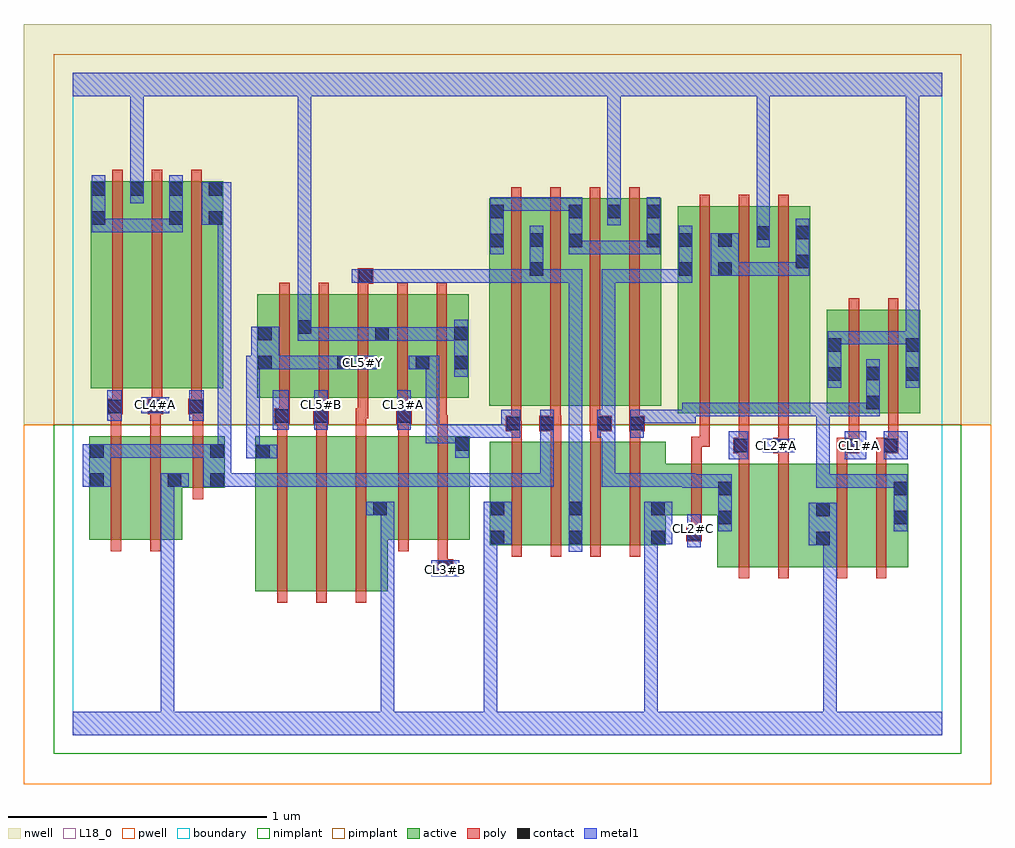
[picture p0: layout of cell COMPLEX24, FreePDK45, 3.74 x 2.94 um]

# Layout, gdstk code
import gdstk
lib = gdstk.Library(unit=1e-6, precision=1e-09)
def R(c, l, rs):  # rectangles x0, y0, x1, y1
    for r in rs: c.add(gdstk.rectangle(r[:2], r[2:], *l))
def A(c, l, x, y, w, h, nx, ny, dx, dy):  # array of equal rectangles
    R(c, l, [(x+i*dx, y+j*dy, x+i*dx+w, y+j*dy+h) for i in range(nx) for j in range(ny)])
active = (1, 0)
pwell = (2, 0)
nwell = (3, 0)
nimplant = (4, 0)
pimplant = (5, 0)
poly = (9, 0)
contact = (10, 0)
metal1 = (11, 0)
L18_0 = (18, 0)
boundary = (235, 0)

complex24 = lib.new_cell('COMPLEX24')
R(complex24, active, [(0.706,0.556,0.886,1.156), (0.706,0.556,0.766,1.156), (0.886,0.556,1.038,1.156), (1.038,0.556,1.218,1.156), (2.49,0.65,2.67,1.05), (2.67,0.65,2.928,1.05), (2.868,0.65,3.048,1.05), (2.868,0.65,2.928,0.902), (3.048,0.65,3.228,1.05), (1.612,0.734,1.792,1.134), (1.612,0.734,1.672,0.948), (1.792,0.734,1.972,1.134), (1.912,0.734,2.096,1.134), (1.912,0.734,1.972,1.134), (2.096,0.734,2.292,1.134), (2.232,0.734,2.292,1.028), (0.064,0.756,0.244,1.156), (0.064,0.756,0.124,1.156), (0.244,0.756,0.424,1.156), (0.364,0.756,0.424,1.156), (1.158,0.756,1.354,1.156), (1.158,0.756,1.218,0.906), (1.354,0.756,1.534,1.156), (1.474,0.756,1.534,1.156), (3.168,0.756,3.228,1.05), (2.49,0.812,2.55,1.012), (2.232,0.85,2.55,1.05), (0.364,0.956,0.588,1.156), (0.528,0.956,0.588,1.156), (2.338,1.244,2.398,2.044), (2.338,1.244,2.55,2.044), (2.49,1.244,2.55,2.044), (2.49,1.244,2.698,2.044), (2.638,1.244,2.698,2.044), (2.638,1.244,2.85,2.044), (2.79,1.244,2.85,2.044), (2.914,1.244,2.974,1.644), (2.914,1.244,3.122,1.644), (3.062,1.244,3.274,1.644), (3.214,1.244,3.274,1.644), (3.062,1.256,3.122,1.644), (1.61,1.274,1.822,2.074), (1.762,1.274,1.972,2.074), (1.762,1.274,1.822,2.044), (1.912,1.274,2.122,2.074), (2.062,1.274,2.274,2.074), (2.214,1.274,2.274,2.074), (0.714,1.304,0.774,1.704), (0.714,1.304,0.926,1.704), (0.866,1.304,1.078,1.704), (1.018,1.304,1.226,1.704), (1.166,1.304,1.382,1.704), (1.322,1.304,1.53,1.704), (1.47,1.304,1.53,1.644), (0.07,1.34,0.13,2.14), (0.07,1.34,0.278,2.14), (0.218,1.34,0.43,2.14), (0.37,1.34,0.582,2.14), (0.522,1.34,0.582,2.14), (1.018,1.41,1.078,1.644), (1.322,1.41,1.382,1.644), (1.61,1.452,1.67,2.074), (1.166,1.52,1.226,1.644), (0.866,1.548,0.926,1.644), (0.218,1.686,0.278,2.14), (0.37,1.686,0.43,2.14), (1.912,1.686,1.972,2.074), (2.062,1.686,2.122,2.074)])
R(complex24, pwell, [(-0.188,-0.188,3.548,1.2)])
R(complex24, nwell, [(-0.188,1.2,3.548,2.748)])
R(complex24, nimplant, [(-0.072,-0.072,3.432,1.2)])
R(complex24, pimplant, [(-0.072,1.2,3.432,2.632)])
A(complex24, poly, 0.79, 0.512, 0.04, 0.688, 3, 1, 0.152, 0)
A(complex24, poly, 1.696, 0.69, 0.04, 0.488, 4, 1, 0.152, 0)
A(complex24, poly, 1.696, 1.138, 0.04, 0.076, 4, 1, 0.152, 0)
A(complex24, poly, 1.694, 1.194, 0.04, 0.076, 4, 1, 0.152, 0)
A(complex24, poly, 2.422, 1.2, 0.04, 0.888, 3, 1, 0.152, 0)
A(complex24, poly, 0.798, 1.224, 0.04, 0.076, 4, 1, 0.152, 0)
A(complex24, poly, 1.694, 1.23, 0.04, 0.888, 4, 1, 0.152, 0)
A(complex24, poly, 0.134, 1.24, 0.06, 0.06, 3, 1, 0.156, 0)
A(complex24, poly, 0.154, 1.26, 0.04, 0.076, 3, 1, 0.152, 0)
A(complex24, poly, 0.798, 1.26, 0.04, 0.488, 5, 1, 0.152, 0)
A(complex24, poly, 0.154, 1.296, 0.04, 0.888, 3, 1, 0.152, 0)
R(complex24, poly, [(2.574,0.606,2.614,1.094), (2.726,0.606,2.766,1.094), (2.952,0.606,2.992,1.094), (3.104,0.606,3.144,1.094), (1.41,0.62,1.47,0.68), (1.41,0.64,1.45,0.752), (0.148,0.712,0.188,1.2), (0.3,0.712,0.34,1.2), (1.258,0.712,1.298,1.2), (1.41,0.712,1.45,1.2), (2.37,0.75,2.43,0.81), (2.39,0.77,2.43,0.846), (2.39,0.806,2.43,1.094), (0.464,0.912,0.504,1.2), (2.39,1.054,2.43,1.154), (2.574,1.054,2.614,1.13), (2.726,1.054,2.766,1.13), (2.952,1.054,2.992,1.13), (3.104,1.054,3.144,1.13), (2.552,1.09,2.614,1.15), (2.706,1.09,2.766,1.15), (2.952,1.09,3.038,1.15), (3.104,1.09,3.19,1.15), (2.574,1.11,2.614,1.24), (2.574,1.11,2.614,1.15), (2.574,1.11,2.614,1.15), (2.726,1.11,2.766,1.24), (2.726,1.11,2.766,1.15), (2.726,1.11,2.766,1.15), (2.998,1.11,3.038,1.24), (2.998,1.11,3.038,1.15), (2.998,1.11,3.038,1.15), (3.15,1.11,3.19,1.24), (3.15,1.11,3.19,1.15), (3.15,1.11,3.19,1.15), (2.39,1.114,2.43,1.154), (2.39,1.114,2.43,1.154), (2.39,1.114,2.462,1.154), (2.422,1.114,2.462,1.24), (0.148,1.16,0.188,1.28), (0.3,1.16,0.34,1.28), (0.464,1.16,0.504,1.28), (0.79,1.16,0.83,1.244), (0.942,1.16,0.982,1.244), (1.094,1.16,1.134,1.264), (1.258,1.16,1.298,1.244), (1.41,1.16,1.45,1.236), (1.674,1.174,1.734,1.234), (1.694,1.174,1.734,1.214), (1.694,1.174,1.736,1.214), (1.802,1.174,1.888,1.234), (1.998,1.174,2.082,1.234), (2,1.174,2.04,1.214), (2,1.174,2.04,1.214), (2.15,1.174,2.21,1.234), (2.152,1.174,2.192,1.214), (2.152,1.174,2.192,1.214), (1.846,1.194,1.886,1.234), (1.846,1.194,1.886,1.234), (1.406,1.196,1.446,1.3), (1.406,1.196,1.45,1.236), (1.41,1.196,1.45,1.236), (1.41,1.196,1.45,1.236), (2.998,1.2,3.038,1.688), (3.15,1.2,3.19,1.688), (0.778,1.204,0.838,1.264), (0.79,1.204,0.83,1.244), (0.79,1.204,0.83,1.244), (0.93,1.204,0.99,1.264), (0.942,1.204,0.982,1.244), (0.942,1.204,0.982,1.244), (1.25,1.204,1.31,1.264), (1.258,1.204,1.298,1.244), (1.258,1.204,1.298,1.244), (1.094,1.224,1.142,1.264), (1.102,1.224,1.142,1.264), (1.102,1.224,1.142,1.264), (0.148,1.24,0.188,1.28), (0.148,1.24,0.188,1.28), (0.3,1.24,0.34,1.28), (0.3,1.24,0.34,1.28), (0.464,1.24,0.504,1.28), (0.464,1.24,0.504,1.28), (1.102,1.708,1.142,1.784), (1.102,1.744,1.162,1.804)])
A(complex24, contact, 0.138, 1.244, 0.052, 0.052, 3, 1, 0.156, 0)
A(complex24, contact, 0.718, 1.414, 0.052, 0.052, 3, 1, 0.304, 0)
A(complex24, contact, 1.614, 1.886, 0.052, 0.052, 3, 1, 0.302, 0)
A(complex24, contact, 0.222, 2.084, 0.052, 0.052, 3, 1, 0.152, 0)
R(complex24, contact, [(1.414,0.624,1.466,0.676), (2.872,0.734,2.924,0.786), (1.616,0.738,1.668,0.79), (1.916,0.738,1.968,0.79), (2.236,0.738,2.288,0.79), (2.374,0.754,2.426,0.806), (2.494,0.816,2.546,0.868), (3.172,0.816,3.224,0.868), (2.872,0.846,2.924,0.898), (1.162,0.85,1.214,0.902), (1.616,0.85,1.668,0.902), (1.916,0.85,1.968,0.902), (2.236,0.85,2.288,0.902), (2.494,0.928,2.546,0.98), (3.172,0.928,3.224,0.98), (0.068,0.96,0.12,1.012), (0.368,0.96,0.42,1.012), (0.532,0.96,0.584,1.012), (0.71,1.07,0.762,1.122), (0.068,1.072,0.12,1.124), (0.532,1.072,0.584,1.124), (2.556,1.094,2.608,1.146), (2.71,1.094,2.762,1.146), (2.982,1.094,3.034,1.146), (3.134,1.094,3.186,1.146), (1.478,1.1,1.53,1.152), (1.678,1.178,1.73,1.23), (1.806,1.178,1.858,1.23), (2.026,1.178,2.078,1.23), (2.154,1.178,2.206,1.23), (0.782,1.208,0.834,1.26), (0.934,1.208,0.986,1.26), (1.254,1.208,1.306,1.26), (3.066,1.26,3.118,1.312), (2.918,1.37,2.97,1.422), (3.218,1.37,3.27,1.422), (3.066,1.372,3.118,1.424), (1.474,1.414,1.526,1.466), (2.918,1.482,2.97,1.534), (3.218,1.482,3.27,1.534), (1.17,1.524,1.222,1.576), (0.718,1.526,0.77,1.578), (1.474,1.526,1.526,1.578), (0.87,1.552,0.922,1.604), (1.106,1.748,1.158,1.8), (1.766,1.776,1.818,1.828), (2.342,1.776,2.394,1.828), (2.494,1.776,2.546,1.828), (2.794,1.804,2.846,1.856), (1.766,1.888,1.818,1.94), (2.342,1.888,2.394,1.94), (2.494,1.888,2.546,1.94), (2.642,1.914,2.694,1.966), (2.794,1.916,2.846,1.968), (0.074,1.972,0.126,2.024), (0.374,1.972,0.426,2.024), (0.526,1.972,0.578,2.024), (1.614,1.998,1.666,2.05), (1.916,1.998,1.968,2.05), (2.066,1.998,2.118,2.05), (2.218,1.998,2.27,2.05), (0.074,2.084,0.126,2.136)])
A(complex24, metal1, 1.254, 1.524, 0.052, 0.052, 3, 1, 0.11, 0)
A(complex24, metal1, 1.614, 1.858, 0.052, 0.22, 3, 1, 0.302, 0)
R(complex24, metal1, [(0,0,3.36,0.092), (0.34,0.04,0.392,0.092), (0.34,0.04,0.392,0.092), (0.34,0.04,0.392,0.092), (0.34,0.04,0.392,0.092), (0.34,0.04,0.392,0.092), (0.34,0.04,0.392,0.092), (0.34,0.04,0.392,0.092), (0.34,0.04,0.392,0.092), (0.34,0.04,0.392,0.092), (0.34,0.04,0.392,0.092), (0.34,0.04,0.392,1.012), (1.19,0.04,1.242,0.092), (1.19,0.04,1.242,0.092), (1.19,0.04,1.242,0.092), (1.19,0.04,1.242,0.092), (1.19,0.04,1.242,0.092), (1.19,0.04,1.242,0.092), (1.19,0.04,1.242,0.092), (1.19,0.04,1.242,0.092), (1.19,0.04,1.242,0.902), (1.588,0.04,1.64,0.092), (1.588,0.04,1.64,0.092), (1.588,0.04,1.64,0.092), (1.588,0.04,1.64,0.092), (1.588,0.04,1.64,0.092), (1.588,0.04,1.64,0.092), (1.588,0.04,1.64,0.79), (2.208,0.04,2.26,0.79), (2.9,0.04,2.952,0.092), (2.9,0.04,2.952,0.092), (2.9,0.04,2.952,0.092), (2.9,0.04,2.952,0.092), (2.9,0.04,2.952,0.786), (1.386,0.614,1.494,0.676), (1.916,0.71,1.968,0.93), (2.374,0.726,2.426,0.854), (2.844,0.734,2.952,0.898), (2.9,0.734,2.952,0.786), (2.9,0.734,2.952,0.786), (2.9,0.734,2.952,0.786), (2.9,0.734,2.952,0.786), (2.9,0.734,2.952,0.786), (2.9,0.734,2.952,0.786), (2.9,0.734,2.952,0.786), (2.9,0.734,2.952,0.786), (1.588,0.738,1.64,0.79), (1.588,0.738,1.64,0.79), (1.588,0.738,1.64,0.79), (1.588,0.738,1.64,0.79), (1.588,0.738,1.64,0.79), (1.588,0.738,1.64,0.79), (1.588,0.738,1.696,0.902), (2.208,0.738,2.26,0.79), (2.208,0.738,2.26,0.79), (2.208,0.738,2.26,0.79), (2.208,0.738,2.26,0.79), (2.208,0.738,2.26,0.79), (2.208,0.738,2.26,0.79), (2.208,0.738,2.26,0.79), (2.208,0.738,2.26,0.79), (2.208,0.738,2.26,0.79), (2.208,0.738,2.26,0.79), (2.208,0.738,2.26,0.79), (2.208,0.738,2.26,0.79), (2.208,0.738,2.316,0.902), (2.494,0.788,2.546,1.008), (3.172,0.788,3.224,1.008), (1.134,0.85,1.242,0.902), (1.916,0.878,1.968,0.93), (1.916,0.878,1.968,0.93), (1.916,0.878,1.968,1.8), (2.356,0.956,2.546,1.008), (2.356,0.956,2.408,1.012), (2.872,0.956,2.924,1.008), (2.872,0.956,2.924,1.008), (2.872,0.956,2.924,1.008), (2.872,0.956,2.956,1.008), (2.872,0.956,2.924,1.284), (2.904,0.956,2.956,1.008), (2.904,0.956,3.114,1.008), (3.062,0.956,3.114,1.008), (3.062,0.956,3.224,1.008), (3.172,0.956,3.224,1.008), (3.172,0.956,3.224,1.008), (0.04,0.96,0.148,1.124), (0.34,0.96,0.392,1.012), (0.34,0.96,0.392,1.012), (0.34,0.96,0.448,1.012), (0.504,0.96,0.612,1.124), (0.56,0.96,0.612,1.012), (0.56,0.96,0.612,1.012), (0.56,0.96,0.812,1.012), (0.76,0.96,0.812,1.012), (0.76,0.96,0.812,1.012), (0.76,0.96,0.812,1.012), (0.76,0.96,0.922,1.012), (0.87,0.96,0.922,1.012), (0.87,0.96,0.922,1.012), (0.87,0.96,0.922,1.012), (0.87,0.96,1.042,1.012), (0.99,0.96,1.042,1.012), (0.99,0.96,1.152,1.012), (1.1,0.96,1.152,1.012), (1.1,0.96,1.152,1.012), (1.1,0.96,1.152,1.012), (1.1,0.96,1.306,1.012), (1.254,0.96,1.306,1.012), (1.254,0.96,1.416,1.012), (1.364,0.96,1.416,1.012), (1.364,0.96,1.53,1.012), (1.478,0.96,1.53,1.012), (1.478,0.96,1.53,1.012), (1.478,0.96,1.53,1.012), (1.478,0.96,1.64,1.012), (1.588,0.96,1.64,1.012), (1.588,0.96,1.64,1.012), (1.588,0.96,1.64,1.012), (1.588,0.96,1.858,1.012), (1.806,0.96,1.858,1.012), (1.806,0.96,1.858,1.012), (1.806,0.96,1.858,1.012), (1.806,0.96,1.858,1.202), (2.044,0.96,2.096,1.012), (2.044,0.96,2.096,1.012), (2.044,0.96,2.096,1.012), (2.044,0.96,2.206,1.012), (2.044,0.96,2.096,1.202), (2.154,0.96,2.206,1.012), (2.154,0.96,2.206,1.012), (2.154,0.96,2.206,1.012), (2.154,0.96,2.408,1.012), (2.356,0.96,2.408,1.012), (2.356,0.96,2.408,1.012), (2.534,1.066,2.608,1.174), (2.982,1.066,3.066,1.174), (3.134,1.066,3.226,1.174), (0.67,1.07,0.722,1.122), (0.67,1.07,0.722,1.122), (0.67,1.07,0.722,1.466), (0.67,1.07,0.734,1.122), (0.682,1.07,0.734,1.122), (0.682,1.07,0.79,1.122), (0.096,1.072,0.148,1.124), (0.096,1.072,0.148,1.124), (0.096,1.072,0.258,1.124), (0.206,1.072,0.258,1.124), (0.206,1.072,0.258,1.124), (0.206,1.072,0.258,1.124), (0.206,1.072,0.44,1.124), (0.388,1.072,0.44,1.124), (0.388,1.072,0.44,1.124), (0.388,1.072,0.44,1.124), (0.388,1.072,0.556,1.124), (0.56,1.072,0.612,1.124), (0.56,1.072,0.612,1.124), (0.56,1.072,0.612,1.124), (0.56,1.072,0.612,1.124), (0.56,1.072,0.612,2.024), (1.478,1.072,1.53,1.18), (2.666,1.094,2.79,1.146), (1.364,1.128,1.416,1.18), (1.364,1.128,1.416,1.18), (1.364,1.128,1.53,1.18), (1.364,1.128,1.416,1.202), (1.478,1.128,1.53,1.18), (1.478,1.128,1.53,1.18), (1.364,1.15,1.416,1.202), (1.364,1.15,1.416,1.202), (1.364,1.15,1.53,1.202), (1.364,1.15,1.416,1.466), (1.478,1.15,1.53,1.202), (1.478,1.15,1.53,1.202), (1.478,1.15,1.53,1.202), (1.478,1.15,1.708,1.202), (1.656,1.15,1.708,1.202), (1.656,1.15,1.708,1.202), (1.656,1.15,1.73,1.258), (1.806,1.15,1.858,1.202), (1.806,1.15,1.858,1.202), (1.806,1.15,1.858,1.258), (2.026,1.15,2.078,1.258), (2.026,1.15,2.096,1.202), (2.044,1.15,2.096,1.202), (2.044,1.15,2.096,1.8), (2.154,1.15,2.206,1.258), (0.774,1.18,0.834,1.334), (0.934,1.18,0.986,1.334), (1.254,1.18,1.306,1.334), (2.154,1.206,2.206,1.258), (2.154,1.206,2.206,1.258), (2.154,1.206,2.408,1.258), (2.356,1.206,2.408,1.284), (0.134,1.216,0.19,1.334), (0.45,1.216,0.506,1.334), (2.356,1.232,2.408,1.284), (2.356,1.232,2.408,1.284), (2.356,1.232,2.518,1.284), (2.466,1.232,2.518,1.284), (2.466,1.232,2.518,1.284), (2.466,1.232,2.518,1.284), (2.466,1.232,2.684,1.284), (2.632,1.232,2.684,1.284), (2.632,1.232,2.684,1.284), (2.632,1.232,2.684,1.284), (2.632,1.232,2.846,1.284), (2.794,1.232,2.846,1.284), (2.794,1.232,2.924,1.284), (2.872,1.232,2.956,1.284), (2.904,1.232,2.956,1.284), (2.904,1.232,2.956,1.284), (2.904,1.232,2.956,1.284), (2.904,1.232,2.956,1.284), (2.904,1.232,3.118,1.284), (3.066,1.232,3.118,1.452), (0.266,1.244,0.374,1.306), (2.918,1.342,2.97,1.562), (3.218,1.342,3.27,1.562), (1.474,1.386,1.526,1.606), (0.67,1.414,0.742,1.466), (0.69,1.414,0.742,1.466), (0.69,1.414,0.798,1.578), (0.746,1.414,0.798,1.466), (0.746,1.414,0.798,1.466), (0.746,1.414,0.932,1.466), (0.88,1.414,0.932,1.466), (0.88,1.414,0.932,1.466), (0.88,1.414,0.932,1.466), (0.88,1.414,1.046,1.466), (0.994,1.414,1.174,1.466), (1.298,1.414,1.416,1.466), (2.918,1.51,2.97,1.562), (2.918,1.51,2.97,1.562), (2.918,1.51,3.114,1.562), (3.062,1.51,3.114,1.562), (3.062,1.51,3.27,1.562), (3.218,1.51,3.27,1.562), (3.218,1.51,3.27,1.562), (3.218,1.51,3.27,1.562), (3.218,1.51,3.27,1.562), (3.218,1.51,3.27,1.562), (3.218,1.51,3.27,1.562), (3.218,1.51,3.27,1.562), (3.218,1.51,3.27,1.562), (3.218,1.51,3.27,2.52), (0.87,1.524,0.922,1.576), (0.87,1.524,0.922,1.576), (0.87,1.524,0.922,1.632), (0.87,1.524,1.042,1.576), (0.99,1.524,1.042,1.576), (0.99,1.524,1.194,1.576), (1.142,1.524,1.194,1.576), (1.142,1.524,1.194,1.576), (1.142,1.524,1.25,1.576), (1.188,1.524,1.24,1.576), (1.188,1.524,1.24,1.576), (1.188,1.524,1.306,1.576), (1.254,1.524,1.416,1.576), (1.364,1.524,1.526,1.576), (1.474,1.524,1.526,1.576), (0.87,1.58,0.922,1.632), (0.87,1.58,0.922,1.632), (0.87,1.58,0.922,2.52), (1.078,1.748,1.186,1.8), (1.134,1.748,1.186,1.8), (1.134,1.748,1.186,1.8), (1.134,1.748,1.306,1.8), (1.254,1.748,1.306,1.8), (1.254,1.748,1.416,1.8), (1.364,1.748,1.416,1.8), (1.364,1.748,1.416,1.8), (1.364,1.748,1.416,1.8), (1.364,1.748,1.53,1.8), (1.478,1.748,1.53,1.8), (1.478,1.748,1.64,1.8), (1.588,1.748,1.64,1.8), (1.588,1.748,1.64,1.8), (1.588,1.748,1.64,1.8), (1.588,1.748,1.818,1.8), (1.766,1.748,1.818,1.968), (1.766,1.748,1.968,1.8), (1.916,1.748,1.968,1.8), (1.916,1.748,1.968,1.8), (1.916,1.748,1.968,1.8), (1.916,1.748,1.968,1.8), (1.916,1.748,1.968,1.8), (1.916,1.748,1.968,1.8), (1.916,1.748,1.968,1.8), (1.916,1.748,1.968,1.8), (1.916,1.748,1.968,1.8), (1.916,1.748,1.968,1.8), (1.916,1.748,1.968,1.8), (1.916,1.748,1.968,1.8), (1.916,1.748,1.968,1.8), (2.044,1.748,2.096,1.8), (2.044,1.748,2.206,1.8), (2.154,1.748,2.206,1.8), (2.154,1.748,2.206,1.8), (2.154,1.748,2.206,1.8), (2.154,1.748,2.394,1.8), (2.342,1.748,2.394,1.968), (2.466,1.776,2.574,1.94), (2.522,1.776,2.574,1.828), (2.522,1.776,2.574,1.828), (2.522,1.776,2.684,1.828), (2.632,1.776,2.684,1.828), (2.632,1.776,2.684,1.828), (2.632,1.776,2.684,1.828), (2.632,1.776,2.846,1.828), (2.794,1.776,2.846,1.996), (1.916,1.858,1.968,1.91), (1.916,1.858,1.968,1.91), (1.916,1.858,2.096,1.91), (2.044,1.858,2.096,1.91), (2.044,1.858,2.096,1.91), (2.044,1.858,2.096,1.91), (2.044,1.858,2.27,1.91), (2.218,1.858,2.27,1.91), (2.218,1.858,2.27,1.91), (2.642,1.886,2.694,1.994), (2.642,1.942,2.694,2.52), (0.074,1.944,0.126,1.996), (0.074,1.944,0.126,1.996), (0.074,1.944,0.126,2.164), (0.074,1.944,0.282,1.996), (0.23,1.944,0.282,1.996), (0.23,1.944,0.282,1.996), (0.23,1.944,0.282,1.996), (0.23,1.944,0.426,1.996), (0.374,1.944,0.426,2.164), (2.066,1.97,2.118,2.078), (0.498,1.972,0.612,2.136), (1.614,2.026,1.666,2.078), (1.614,2.026,1.666,2.078), (1.614,2.026,1.818,2.078), (1.766,2.026,1.818,2.078), (1.766,2.026,1.968,2.078), (1.916,2.026,1.968,2.078), (1.916,2.026,1.968,2.078), (2.066,2.026,2.118,2.078), (2.066,2.026,2.118,2.078), (2.066,2.026,2.118,2.078), (2.066,2.026,2.118,2.078), (2.066,2.026,2.118,2.52), (0.222,2.056,0.274,2.164), (0.222,2.112,0.274,2.164), (0.222,2.112,0.274,2.164), (0.222,2.112,0.274,2.164), (0.222,2.112,0.274,2.164), (0.222,2.112,0.274,2.164), (0.222,2.112,0.274,2.164), (0.222,2.112,0.274,2.52), (0,2.468,3.36,2.56), (0.222,2.468,0.274,2.52), (0.222,2.468,0.274,2.52), (0.87,2.468,0.922,2.52), (0.87,2.468,0.922,2.52), (0.87,2.468,0.922,2.52), (0.87,2.468,0.922,2.52), (0.87,2.468,0.922,2.52), (0.87,2.468,0.922,2.52), (0.87,2.468,0.922,2.52), (0.87,2.468,0.922,2.52), (0.87,2.468,0.922,2.52), (0.87,2.468,0.922,2.52), (0.87,2.468,0.922,2.52), (0.87,2.468,0.922,2.52), (0.87,2.468,0.922,2.52), (0.87,2.468,0.922,2.52), (2.066,2.468,2.118,2.52), (2.066,2.468,2.118,2.52), (2.066,2.468,2.118,2.52), (2.066,2.468,2.118,2.52), (2.642,2.468,2.694,2.52), (2.642,2.468,2.694,2.52), (2.642,2.468,2.694,2.52), (2.642,2.468,2.694,2.52), (2.642,2.468,2.694,2.52), (2.642,2.468,2.694,2.52), (2.642,2.468,2.694,2.52), (2.642,2.468,2.694,2.52), (3.218,2.468,3.27,2.52), (3.218,2.468,3.27,2.52), (3.218,2.468,3.27,2.52), (3.218,2.468,3.27,2.52), (3.218,2.468,3.27,2.52), (3.218,2.468,3.27,2.52), (3.218,2.468,3.27,2.52), (3.218,2.468,3.27,2.52), (3.218,2.468,3.27,2.52), (3.218,2.468,3.27,2.52)])
A(complex24, L18_0, 0.134, 1.254, 0.052, 0.052, 3, 1, 0.16, 0)
A(complex24, L18_0, 1.254, 1.524, 0.052, 0.052, 3, 1, 0.11, 0)
R(complex24, L18_0, [(0,0,3.36,0.092), (0.34,0.04,0.392,0.092), (0.34,0.04,0.392,0.092), (0.34,0.04,0.392,0.092), (0.34,0.04,0.392,0.092), (0.34,0.04,0.392,0.092), (0.34,0.04,0.392,0.092), (0.34,0.04,0.392,0.092), (0.34,0.04,0.392,0.092), (0.34,0.04,0.392,0.092), (0.34,0.04,0.392,0.092), (0.34,0.04,0.392,1.012), (1.19,0.04,1.242,0.092), (1.19,0.04,1.242,0.092), (1.19,0.04,1.242,0.092), (1.19,0.04,1.242,0.092), (1.19,0.04,1.242,0.092), (1.19,0.04,1.242,0.092), (1.19,0.04,1.242,0.092), (1.19,0.04,1.242,0.092), (1.19,0.04,1.242,0.902), (1.588,0.04,1.64,0.092), (1.588,0.04,1.64,0.092), (1.588,0.04,1.64,0.092), (1.588,0.04,1.64,0.092), (1.588,0.04,1.64,0.092), (1.588,0.04,1.64,0.092), (1.588,0.04,1.64,0.79), (2.208,0.04,2.26,0.79), (2.9,0.04,2.952,0.092), (2.9,0.04,2.952,0.092), (2.9,0.04,2.952,0.092), (2.9,0.04,2.952,0.092), (2.9,0.04,2.952,0.786), (1.386,0.614,1.494,0.676), (1.414,0.614,1.466,0.666), (2.374,0.726,2.426,0.854), (2.844,0.734,2.952,0.898), (2.9,0.734,2.952,0.786), (2.9,0.734,2.952,0.786), (2.9,0.734,2.952,0.786), (2.9,0.734,2.952,0.786), (2.9,0.734,2.952,0.786), (2.9,0.734,2.952,0.786), (2.9,0.734,2.952,0.786), (2.9,0.734,2.952,0.786), (1.588,0.738,1.64,0.79), (1.588,0.738,1.64,0.79), (1.588,0.738,1.64,0.79), (1.588,0.738,1.64,0.79), (1.588,0.738,1.64,0.79), (1.588,0.738,1.64,0.79), (1.588,0.738,1.696,0.902), (2.208,0.738,2.26,0.79), (2.208,0.738,2.26,0.79), (2.208,0.738,2.26,0.79), (2.208,0.738,2.26,0.79), (2.208,0.738,2.26,0.79), (2.208,0.738,2.26,0.79), (2.208,0.738,2.26,0.79), (2.208,0.738,2.26,0.79), (2.208,0.738,2.26,0.79), (2.208,0.738,2.26,0.79), (2.208,0.738,2.26,0.79), (2.208,0.738,2.26,0.79), (2.208,0.738,2.316,0.902), (2.374,0.774,2.426,0.826), (1.134,0.85,1.242,0.902), (0.34,0.96,0.392,1.012), (0.34,0.96,0.392,1.012), (0.34,0.96,0.448,1.012), (2.534,1.066,2.608,1.174), (2.982,1.066,3.066,1.174), (3.134,1.066,3.226,1.174), (0.67,1.07,0.722,1.122), (0.67,1.07,0.722,1.122), (0.67,1.07,0.734,1.122), (0.67,1.07,0.722,1.466), (0.682,1.07,0.734,1.122), (0.682,1.07,0.79,1.122), (2.534,1.094,2.586,1.146), (2.666,1.094,2.79,1.146), (2.694,1.094,2.746,1.146), (3.014,1.094,3.066,1.146), (3.174,1.094,3.226,1.146), (0.774,1.18,0.834,1.334), (0.934,1.18,0.986,1.334), (1.254,1.18,1.306,1.334), (0.134,1.216,0.19,1.334), (0.45,1.216,0.506,1.334), (0.266,1.244,0.374,1.306), (0.774,1.254,0.826,1.306), (0.934,1.254,0.986,1.306), (1.254,1.254,1.306,1.306), (2.918,1.342,2.97,1.562), (3.218,1.342,3.27,1.562), (1.474,1.386,1.526,1.606), (0.67,1.414,0.742,1.466), (0.69,1.414,0.742,1.466), (0.69,1.414,0.798,1.578), (0.746,1.414,0.798,1.466), (0.746,1.414,0.798,1.466), (0.746,1.414,0.932,1.466), (0.88,1.414,0.932,1.466), (0.88,1.414,0.932,1.466), (0.88,1.414,0.932,1.466), (0.88,1.414,1.046,1.466), (0.994,1.414,1.174,1.466), (1.094,1.414,1.146,1.466), (2.918,1.51,2.97,1.562), (2.918,1.51,2.97,1.562), (2.918,1.51,3.114,1.562), (3.062,1.51,3.114,1.562), (3.062,1.51,3.27,1.562), (3.218,1.51,3.27,1.562), (3.218,1.51,3.27,1.562), (3.218,1.51,3.27,1.562), (3.218,1.51,3.27,1.562), (3.218,1.51,3.27,1.562), (3.218,1.51,3.27,1.562), (3.218,1.51,3.27,1.562), (3.218,1.51,3.27,1.562), (3.218,1.51,3.27,2.52), (0.87,1.524,0.922,1.632), (0.87,1.524,0.922,1.576), (0.87,1.524,0.922,1.576), (0.87,1.524,1.042,1.576), (0.99,1.524,1.042,1.576), (0.99,1.524,1.194,1.576), (1.142,1.524,1.194,1.576), (1.142,1.524,1.194,1.576), (1.142,1.524,1.25,1.576), (1.188,1.524,1.24,1.576), (1.188,1.524,1.24,1.576), (1.188,1.524,1.306,1.576), (1.254,1.524,1.416,1.576), (1.364,1.524,1.526,1.576), (1.474,1.524,1.526,1.576), (0.87,1.58,0.922,1.632), (0.87,1.58,0.922,1.632), (0.87,1.58,0.922,2.52), (2.642,1.886,2.694,1.994), (2.642,1.942,2.694,2.52), (2.066,1.97,2.118,2.078), (2.066,2.026,2.118,2.078), (2.066,2.026,2.118,2.078), (2.066,2.026,2.118,2.078), (2.066,2.026,2.118,2.078), (2.066,2.026,2.118,2.52), (0.222,2.056,0.274,2.164), (0.222,2.112,0.274,2.164), (0.222,2.112,0.274,2.164), (0.222,2.112,0.274,2.164), (0.222,2.112,0.274,2.164), (0.222,2.112,0.274,2.164), (0.222,2.112,0.274,2.164), (0.222,2.112,0.274,2.52), (0,2.468,3.36,2.56), (0.222,2.468,0.274,2.52), (0.222,2.468,0.274,2.52), (0.87,2.468,0.922,2.52), (0.87,2.468,0.922,2.52), (0.87,2.468,0.922,2.52), (0.87,2.468,0.922,2.52), (0.87,2.468,0.922,2.52), (0.87,2.468,0.922,2.52), (0.87,2.468,0.922,2.52), (0.87,2.468,0.922,2.52), (0.87,2.468,0.922,2.52), (0.87,2.468,0.922,2.52), (0.87,2.468,0.922,2.52), (0.87,2.468,0.922,2.52), (0.87,2.468,0.922,2.52), (0.87,2.468,0.922,2.52), (2.066,2.468,2.118,2.52), (2.066,2.468,2.118,2.52), (2.066,2.468,2.118,2.52), (2.066,2.468,2.118,2.52), (2.642,2.468,2.694,2.52), (2.642,2.468,2.694,2.52), (2.642,2.468,2.694,2.52), (2.642,2.468,2.694,2.52), (2.642,2.468,2.694,2.52), (2.642,2.468,2.694,2.52), (2.642,2.468,2.694,2.52), (2.642,2.468,2.694,2.52), (3.218,2.468,3.27,2.52), (3.218,2.468,3.27,2.52), (3.218,2.468,3.27,2.52), (3.218,2.468,3.27,2.52), (3.218,2.468,3.27,2.52), (3.218,2.468,3.27,2.52), (3.218,2.468,3.27,2.52), (3.218,2.468,3.27,2.52), (3.218,2.468,3.27,2.52), (3.218,2.468,3.27,2.52)])
R(complex24, boundary, [(0,0,3.36,2.56)])
complex24.add(gdstk.Label('CL1#A', (3.04,1.12), layer=11, texttype=0))
complex24.add(gdstk.Label('CL1#B', (3.2,1.12), layer=11, texttype=0))
complex24.add(gdstk.Label('CL2#A', (2.72,1.12), layer=11, texttype=0))
complex24.add(gdstk.Label('CL2#B', (2.56,1.12), layer=11, texttype=0))
complex24.add(gdstk.Label('CL2#C', (2.4,0.8), layer=11, texttype=0))
complex24.add(gdstk.Label('CL3#A', (1.28,1.28), layer=11, texttype=0))
complex24.add(gdstk.Label('CL3#B', (1.44,0.64), layer=11, texttype=0))
complex24.add(gdstk.Label('CL4#A', (0.32,1.28), layer=11, texttype=0))
complex24.add(gdstk.Label('CL4#B', (0.16,1.28), layer=11, texttype=0))
complex24.add(gdstk.Label('CL4#C', (0.48,1.28), layer=11, texttype=0))
complex24.add(gdstk.Label('CL5#B', (0.96,1.28), layer=11, texttype=0))
complex24.add(gdstk.Label('CL5#C', (0.8,1.28), layer=11, texttype=0))
complex24.add(gdstk.Label('CL5#Y', (1.12,1.44), layer=11, texttype=0))

lib.write_gds('COMPLEX24.gds')
